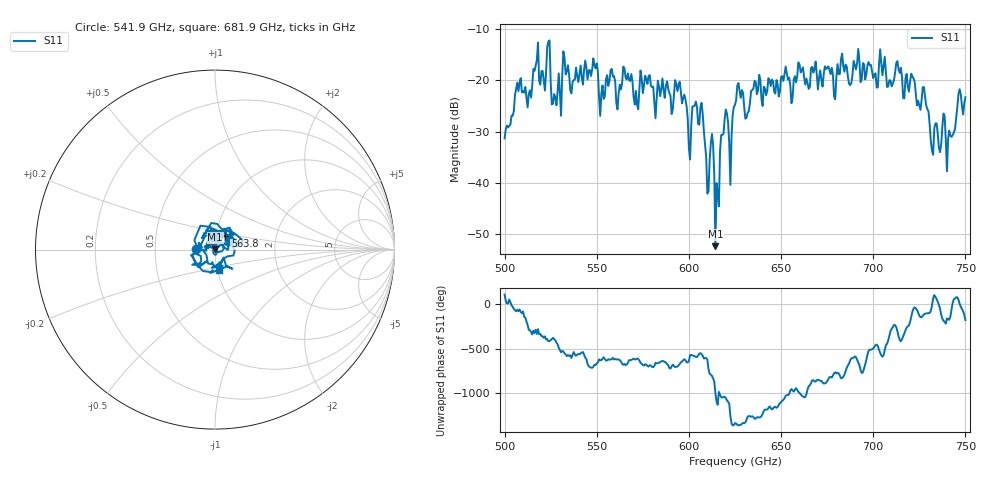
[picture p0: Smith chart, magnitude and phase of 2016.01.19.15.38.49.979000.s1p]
!Created with skrf (http://scikit-rf.org).
# GHz S RI R 50.0
!freq ReS11 ImS11
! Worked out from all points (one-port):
!   401 points, 500 GHz to 750 GHz, reference 50 ohm
!   lowest |S11| = -52.4 dB at 614.4 GHz (marker M1), VSWR 1.00, Z = 50 + j0.238 ohm
!   |S11| at or under -10 dB: start of sweep to end of sweep
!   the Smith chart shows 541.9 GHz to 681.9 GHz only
!   S11 on the Smith chart (normalised r, x): 541.9 GHz: 0.81, +0.00; 563.8 GHz: 1.11, +0.17; 681.9 GHz: 1.01, -0.23
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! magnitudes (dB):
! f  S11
! 500 GHz  -31.3
! 516.9 GHz  -17.0
! 520.6 GHz  -18.1
! 523.8 GHz  -12.4
! 526.9 GHz  -22.7
! 531.2 GHz  -19.2
! 541.9 GHz  -19.5
! 562.5 GHz  -20.8
! 563.8 GHz  -20.5
! 571.2 GHz  -22.1
! 593.8 GHz  -22.1
! 600 GHz  -33.3
! 606.9 GHz  -24.4
! 609.4 GHz  -35.0
! 612.5 GHz  -30.5
! 614.4 GHz  -52.4
! 615.6 GHz  -41.9
! 618.8 GHz  -30.4
! 622.5 GHz  -40.4
! 625 GHz  -24.8
! 656.2 GHz  -23.4
! 681.9 GHz  -18.8
! 687.5 GHz  -20.9
! 718.8 GHz  -21.2
! 728.1 GHz  -23.2
! 731.9 GHz  -33.7
! 741.2 GHz  -29.8
! 750 GHz  -23.3
